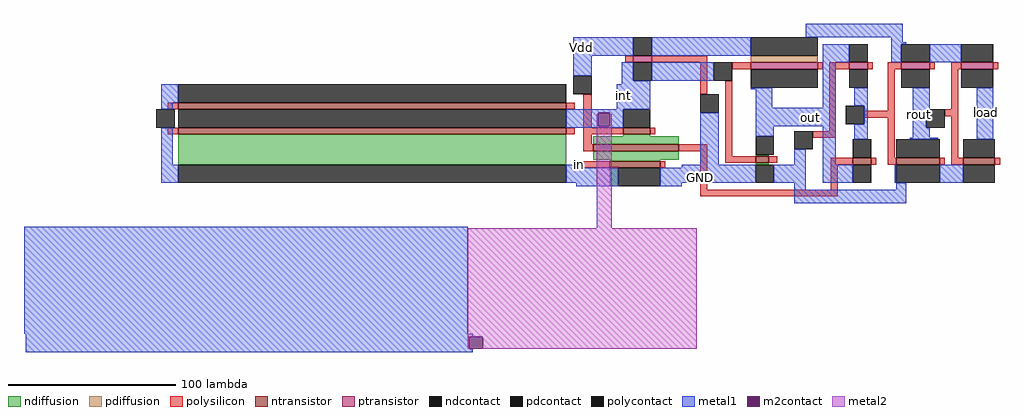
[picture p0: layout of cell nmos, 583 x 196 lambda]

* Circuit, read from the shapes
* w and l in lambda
.subckt nmos GND Vdd in int load out rout
M1 int GND GND VSUBS nfet w=232 l=4 m=2
M2 n1 Vdd n2 VSUBS nfet w=51 l=4
M3 n2 in GND VSUBS nfet w=30 l=4
M4 int Vdd n1 VSUBS nfet w=16 l=4
M5 out int GND VSUBS nfet w=8 l=4
M6 n3 Vdd out VSUBS nfet w=11 l=4
M7 rout n3 GND VSUBS nfet w=26 l=4
M8 load rout GND VSUBS nfet w=19 l=4
M9 Vdd GND int NWELL pfet w=11 l=4
M10 Vdd int out NWELL pfet w=40 l=4
M11 out GND n3 NWELL pfet w=11 l=4
M12 Vdd n3 rout NWELL pfet w=17 l=4
M13 Vdd rout load NWELL pfet w=19 l=4
.ends

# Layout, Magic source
magic
tech mcnc8
<< polysilicon >>
rect -9 59 -4 63
rect 7 59 40 63
rect -282 31 -276 35
rect -44 31 -39 35
rect -34 20 -29 40
rect 36 40 40 59
rect 55 55 66 59
rect 106 55 109 59
rect 113 55 125 59
rect 136 55 139 59
rect 148 55 156 59
rect 173 55 176 59
rect 186 55 192 59
rect 211 55 214 59
rect -282 16 -276 20
rect -44 16 -39 20
rect -34 16 -10 20
rect 6 16 9 20
rect -34 10 -29 16
rect -34 6 -28 10
rect 23 6 40 10
rect -37 -4 -18 0
rect 12 -4 15 0
rect 36 -17 40 6
rect 51 3 55 48
rect 113 18 117 55
rect 148 30 152 55
rect 186 31 190 55
rect 134 26 152 30
rect 103 14 117 18
rect 51 -1 69 3
rect 77 -1 82 3
rect 148 2 152 26
rect 182 27 190 31
rect 186 2 190 27
rect 114 -2 127 2
rect 138 -2 141 2
rect 148 -2 153 2
rect 179 -2 182 2
rect 186 -2 193 2
rect 212 -2 215 2
rect 114 -17 118 -2
rect 36 -21 118 -17
<< ndiffusion >>
rect -276 -2 -44 16
rect -10 15 6 16
rect -28 10 23 15
rect -28 1 23 6
rect -18 0 12 1
rect -18 -15 -13 -4
rect 69 3 77 4
rect 69 -2 77 -1
<< pdiffusion >>
rect 66 59 106 63
<< metal1 >>
rect 99 74 157 82
rect -40 63 -4 74
rect 7 63 66 74
rect 150 71 157 74
rect 150 70 159 71
rect -40 51 -29 63
rect 109 59 125 70
rect 150 59 156 70
rect 173 59 192 70
rect -286 35 -276 46
rect -11 48 -4 59
rect 7 48 44 59
rect -11 46 6 48
rect -286 31 -279 35
rect -14 31 6 46
rect 66 43 79 44
rect -44 29 -10 31
rect -44 21 -25 29
rect -18 21 -10 29
rect -44 20 -10 21
rect -286 -2 -279 20
rect 36 -2 47 29
rect 69 32 79 43
rect 109 32 117 59
rect 128 33 136 44
rect 69 21 117 32
rect 134 22 136 33
rect 69 15 80 21
rect 92 -2 99 7
rect -286 -13 -276 -2
rect -44 -4 -38 -2
rect 25 -4 69 -2
rect -44 -13 -13 -4
rect -38 -15 -13 -13
rect 12 -13 69 -4
rect 80 -13 99 -2
rect 109 -2 117 21
rect 128 13 136 22
rect 163 31 173 44
rect 163 20 171 31
rect 163 14 173 20
rect 161 13 178 14
rect 201 13 211 44
rect 109 -13 127 -2
rect 152 -13 153 -2
rect 179 -13 193 -2
rect 12 -15 25 -13
rect 92 -17 99 -13
rect 153 -17 159 -13
rect 92 -25 159 -17
rect -368 -103 -103 -39
rect -367 -105 -100 -103
rect -367 -112 -102 -105
rect -367 -114 -100 -112
<< metal2 >>
rect -26 21 -25 28
rect -18 21 -17 28
rect -26 -40 -17 21
rect -103 -105 34 -40
rect -103 -112 -102 -105
rect -94 -112 34 -105
<< polycontact >>
rect -40 40 -29 51
rect -289 20 -278 31
rect 44 48 55 59
rect 36 29 47 40
rect 123 22 134 33
rect 92 7 103 18
rect 171 20 182 31
<< ndcontact >>
rect -276 35 -44 46
rect -276 20 -44 31
rect -10 20 6 31
rect -276 -13 -44 -2
rect -13 -15 12 -4
rect 69 4 80 15
rect 127 2 138 13
rect 153 2 179 13
rect 193 2 212 13
rect 69 -13 80 -2
rect 127 -13 138 -2
rect 153 -13 179 -2
rect 193 -13 212 -2
<< pdcontact >>
rect -4 63 7 74
rect 66 63 106 74
rect 125 59 136 70
rect 156 59 173 70
rect 192 59 211 70
rect -4 48 7 59
rect 66 44 106 55
rect 125 44 136 55
rect 156 44 173 55
rect 192 44 211 55
<< m2contact >>
rect -25 21 -18 29
rect -102 -112 -94 -105
<< ntransistor >>
rect -276 31 -44 35
rect -276 16 -44 20
rect -10 16 6 20
rect -28 6 23 10
rect -18 -4 12 0
rect 69 -1 77 3
rect 127 -2 138 2
rect 153 -2 179 2
rect 193 -2 212 2
<< ptransistor >>
rect -4 59 7 63
rect 66 55 106 59
rect 125 55 136 59
rect 156 55 173 59
rect 192 55 211 59
<< labels >>
rlabel metal1 -10 39 -10 39 1 int
rlabel metal1 -35 68 -35 68 1 Vdd
rlabel metal1 102 26 102 26 1 out
rlabel metal1 167 28 167 28 1 rout
rlabel metal1 36 -10 36 -10 8 GND
rlabel metal1 207 29 207 29 1 load
rlabel polysilicon -36 -2 -36 -2 3 in
<< end >>
